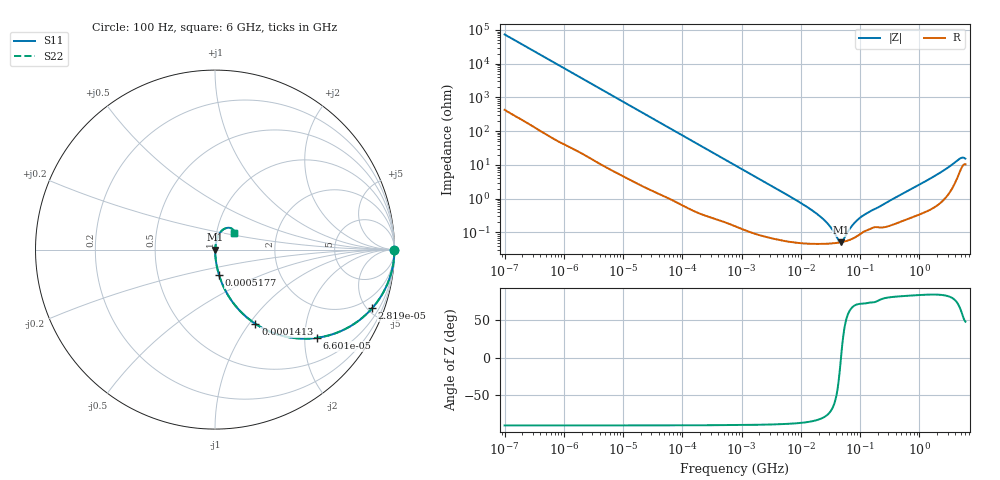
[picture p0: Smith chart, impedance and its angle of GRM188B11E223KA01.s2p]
!Murata Part Number: GRM188B11E223KA01
!These Parameters are Measured in Series Mode Connection
!Data Generated on Mar 30, 2021
!  o--ll--o
!Port1  Port2
!  o------o
!Operation Temp=25[degC], DC Bias Voltage=0[V]
!Freq. Start=100[Hz] Stop=6[GHz] 401[Steps]
# Hz S RI R 50
!Freq.(Hz) S11(Real) S11(Imag) S21(Real) S21(Imag) S12(Real) S12(Imag) S22(Real) S22(Imag)
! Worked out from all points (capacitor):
!   401 points, 100 Hz to 6 GHz, reference 50 ohm
!   read as one part in series: C = 21.6 nF near 109 Hz
!   lowest |Z| = 51.3 mohm at 47.65 MHz (marker M1)
!   series resonance near 47.69 MHz, so ESL is about 520 pH
!   S11 on the Smith chart (normalised r, x): 100 Hz: open; 28.19 kHz: 1.04, -5.33; 66 kHz: 1.02, -2.29; 141.3 kHz: 1.01, -1.07; 517.7 kHz: 1.00, -0.29; 6 GHz: 1.21, +0.23
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100  1 -0.00136  9.8e-06 0.00136  9.8e-06 0.00136  1 -0.00136
2008  0.9991 -0.027  0.000888 0.027  0.000888 0.027  0.9991 -0.027
8801  0.9856 -0.1159  0.0144 0.1159  0.0144 0.1159  0.9856 -0.1159
28191  0.8748 -0.3275  0.1252 0.3275  0.1252 0.3275  0.8748 -0.3275
40335  0.775 -0.4139  0.225 0.4139  0.225 0.4139  0.775 -0.4139
66005  0.5657 -0.4916  0.4343 0.4916  0.4343 0.4916  0.5657 -0.4916
141303  0.225 -0.4132  0.775 0.4132  0.775 0.4132  0.225 -0.4132
252896  0.0849 -0.2737  0.9151 0.2737  0.9151 0.2737  0.0849 -0.2737
517687  0.0231 -0.1436  0.9769 0.1436  0.9769 0.1436  0.0231 -0.1436
774597  0.0111 -0.0975  0.9889 0.0975  0.9889 0.0975  0.0111 -0.0975
2481164  0.00171 -0.0309  0.9983 0.0309  0.9983 0.0309  0.00171 -0.0309
1.555665e7  0.00048 -0.00447  0.9995 0.00447  0.9995 0.00447  0.00048 -0.00447
2.784235e7  0.000467 -0.00185  0.9995 0.00185  0.9995 0.00185  0.000467 -0.00185
4.35672e7  0.0005 -0.000296  0.9995 0.000296  0.9995 0.000296  0.0005 -0.000296
4.764863e7  0.000513 -2.9e-06  0.9995 2.9e-06  0.9995 2.9e-06  0.000513 -2.9e-06
5.211241e7  0.00053 0.00029  0.9995 -0.00029  0.9995 -0.00029  0.00053 0.00029
7.455971e7  0.000654 0.00151  0.9993 -0.00151  0.9993 -0.00151  0.000654 0.00151
9.753859e7  0.000873 0.00249  0.9991 -0.00249  0.9991 -0.00249  0.000873 0.00249
3.124326e8  0.00163 0.00843  0.9984 -0.00843  0.9984 -0.00843  0.00163 0.00843
1.791126e9  0.00759 0.0455  0.9924 -0.0455  0.9924 -0.0455  0.00759 0.0455
4.586474e9  0.0633 0.1202  0.9367 -0.1202  0.9367 -0.1202  0.0633 0.1202
6e9  0.1038 0.0918  0.8962 -0.0918  0.8962 -0.0918  0.1038 0.0918
